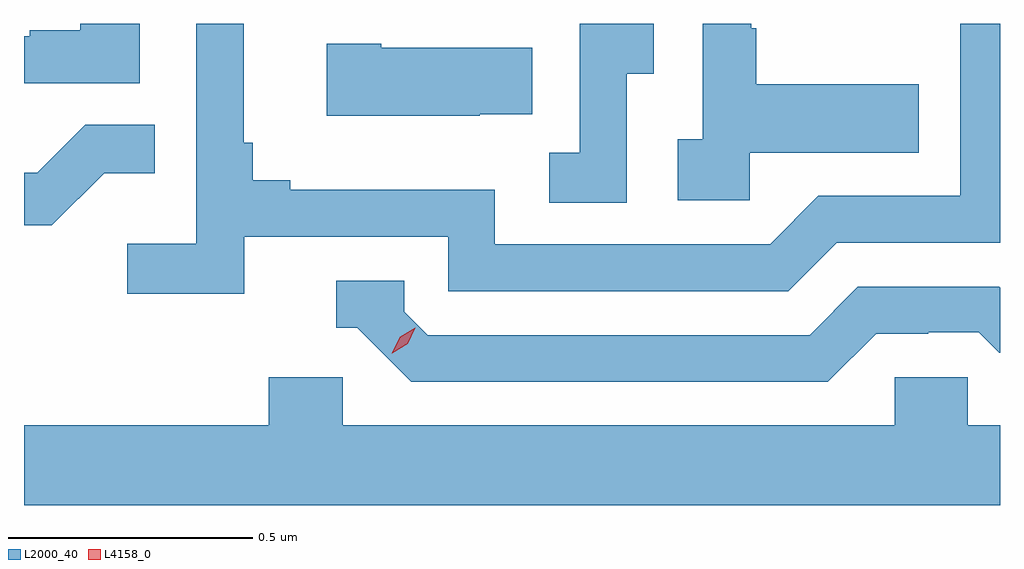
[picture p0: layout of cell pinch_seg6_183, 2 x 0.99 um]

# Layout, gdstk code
import gdstk
lib = gdstk.Library(unit=1e-6, precision=1e-09)
def P(c, l, *ps):  # polygons
    for p in ps: c.add(gdstk.Polygon(p, *l))
L2000_40 = (2000, 40)
L4158_0 = (4158, 0)

pinch_seg6_183 = lib.new_cell('pinch_seg6_183')
P(pinch_seg6_183, L2000_40, [(1062.918,928.24),(1062.973,928.24),(1062.973,928.343),(1062.822,928.343),(1062.822,928.079),(1062.759,928.079),(1062.759,927.976),(1062.918,927.976)],
  [(1063.17,928.079),(1063.517,928.079),(1063.517,928.219),(1063.183,928.219),(1063.183,928.334),(1063.173,928.334),(1063.173,928.343),(1063.074,928.343),(1063.074,928.106),(1063.023,928.106),(1063.023,927.981),(1063.17,927.981)],
  [(1061.92,928.343),(1061.798,928.343),(1061.798,928.33),(1061.695,928.33),(1061.695,928.317),(1061.683,928.317),(1061.683,928.221),(1061.92,928.221)],
  [(1062.134,927.906),(1062.552,927.906),(1062.552,927.795),(1063.249,927.795),(1063.348,927.894),(1063.683,927.894),(1063.683,928.343),(1063.602,928.343),(1063.602,927.99),(1063.311,927.99),(1063.212,927.891),(1062.648,927.891),(1062.648,928.003),(1062.229,928.003),(1062.229,928.022),(1062.152,928.022),(1062.152,928.099),(1062.133,928.099),(1062.133,928.343),(1062.036,928.343),(1062.036,927.892),(1061.895,927.892),(1061.895,927.79),(1062.134,927.79)],
  [(1062.617,928.157),(1062.725,928.157),(1062.725,928.294),(1062.415,928.294),(1062.415,928.302),(1062.303,928.302),(1062.303,928.154),(1062.617,928.154)],
  [(1061.847,928.037),(1061.951,928.037),(1061.951,928.136),(1061.808,928.136),(1061.71,928.038),(1061.683,928.038),(1061.683,927.93),(1061.74,927.93)],
  [(1063.429,927.708),(1063.536,927.708),(1063.536,927.711),(1063.639,927.711),(1063.681,927.669),(1063.683,927.669),(1063.683,927.802),(1063.681,927.804),(1063.392,927.804),(1063.293,927.705),(1062.51,927.705),(1062.462,927.753),(1062.462,927.816),(1062.323,927.816),(1062.323,927.72),(1062.366,927.72),(1062.477,927.609),(1063.33,927.609)],
  [(1063.683,927.52),(1063.617,927.52),(1063.617,927.618),(1063.467,927.618),(1063.467,927.52),(1062.336,927.52),(1062.336,927.618),(1062.185,927.618),(1062.185,927.52),(1061.683,927.52),(1061.683,927.356),(1063.683,927.356)])
P(pinch_seg6_183, L4158_0, [(1062.437,927.668),(1062.437,927.668),(1062.454,927.701),(1062.485,927.72),(1062.485,927.72),(1062.485,927.72),(1062.469,927.687),(1062.438,927.668)])

lib.write_gds('pinch_seg6_183.gds')
